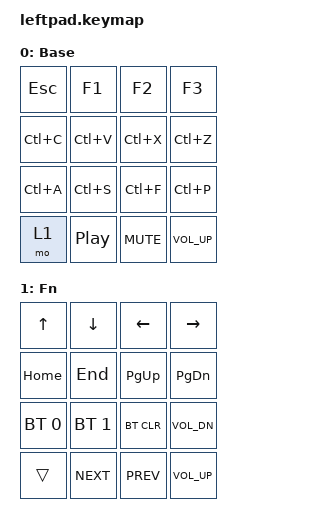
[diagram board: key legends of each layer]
/*
 * leftpad 键位表
 *
 * bindings 的顺序 = 矩阵扫描顺序：先第 0 行从左到右，再第 1 行……
 * 所以第 1 个是 RC(0,0)，第 6 个是 RC(1,1)，以此类推。
 */

#include <behaviors.dtsi>
#include <dt-bindings/zmk/keys.h>
#include <dt-bindings/zmk/bt.h>

/ {
    keymap {
        compatible = "zmk,keymap";

        /* 第 0 层：日常快捷键 */
        default_layer {
            display-name = "Base";
            bindings = <
                &kp ESC      &kp F1        &kp F2        &kp F3
                &kp LC(C)    &kp LC(V)     &kp LC(X)     &kp LC(Z)
                &kp LC(A)    &kp LC(S)     &kp LC(F)     &kp LC(P)
                &mo 1        &kp C_PP      &kp C_MUTE    &kp C_VOL_UP
            >;
        };

        /* 第 1 层：按住左下角那个键时生效（方向键 + 媒体 + 蓝牙） */
        fn_layer {
            display-name = "Fn";
            bindings = <
                &kp UP       &kp DOWN      &kp LEFT      &kp RIGHT
                &kp HOME     &kp END       &kp PG_UP     &kp PG_DN
                &bt BT_SEL 0 &bt BT_SEL 1  &bt BT_CLR    &kp C_VOL_DN
                &trans       &kp C_NEXT    &kp C_PREV    &kp C_VOL_UP
            >;
        };
    };
};
